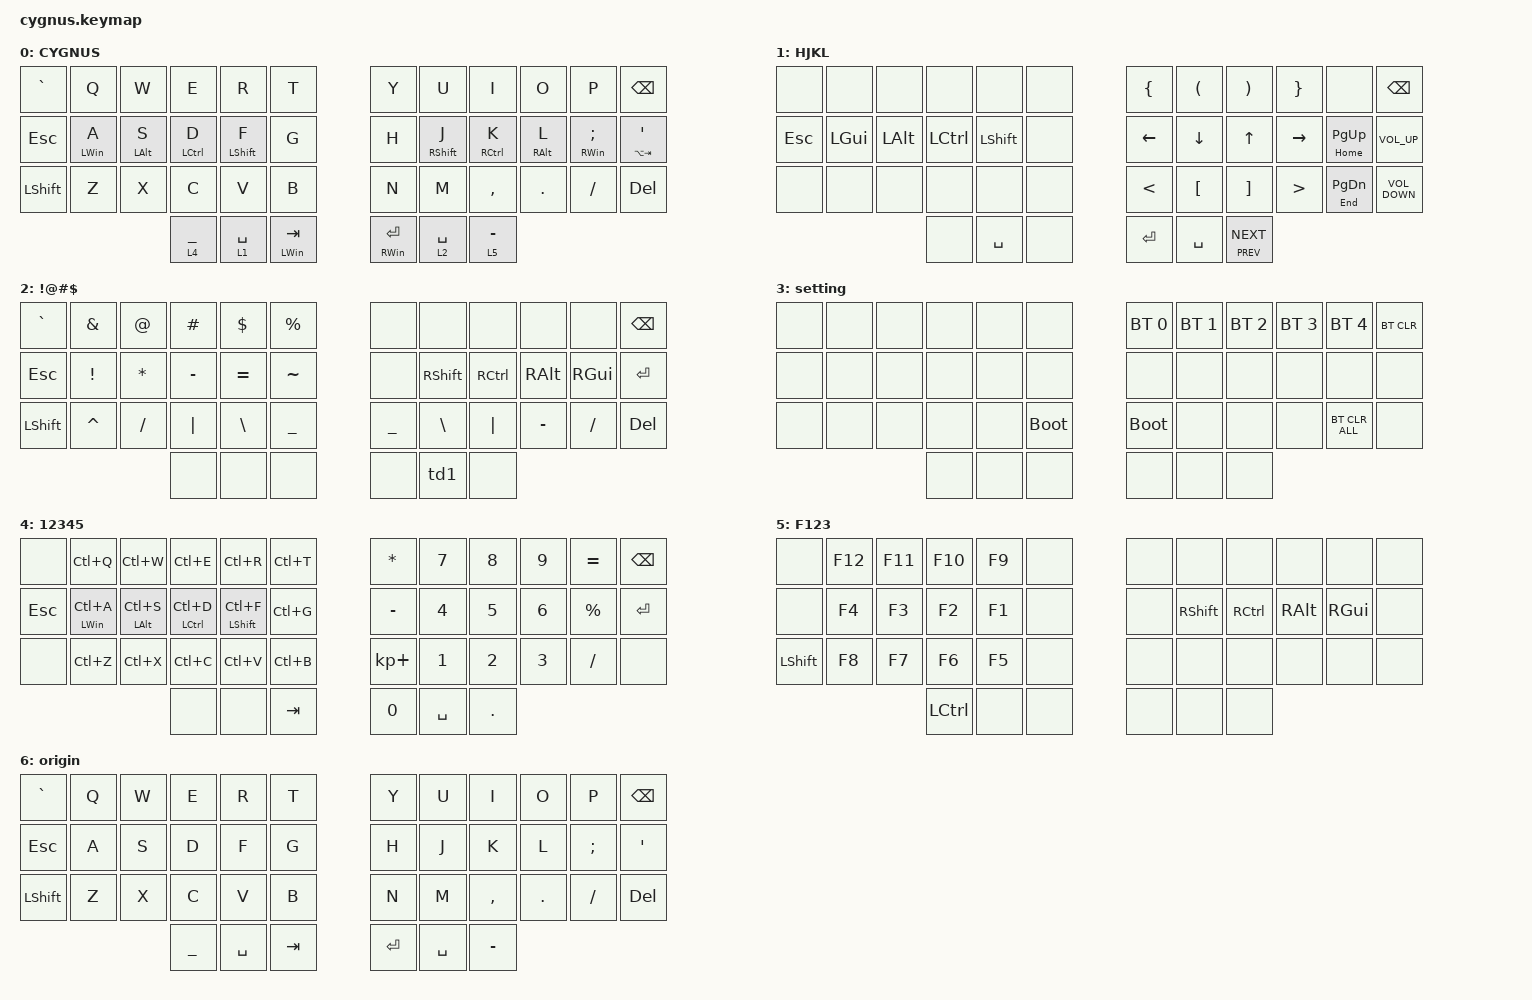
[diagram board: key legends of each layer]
/*
 * Copyright (c) 2020 The ZMK Contributors
 *
 * SPDX-License-Identifier: MIT
 */

#include <dt-bindings/zmk/mouse.h>
#include <behaviors.dtsi>
#include <dt-bindings/zmk/bt.h>
#include <dt-bindings/zmk/keys.h>

&mt {
    tapping-term-ms = <200>;
    flavor = "tap-preferred";
};

&sk {
    release-after-ms = <2000>;
    quick-release;
};

&lt { tapping-term-ms = <150>; };

/ {
    combos {
        compatible = "zmk,combos";

        combo_setting {
            bindings = <&tog 3>;
            key-positions = <24 25 34 35>;
        };

        combo_ctrl_space {
            bindings = <&kp LC(F9)>;
            key-positions = <37 40>;
            layers = <0>;
        };

        combo_f8 {
            bindings = <&kp F8>;
            key-positions = <38 39>;
            layers = <0>;
        };

        combo_colon {
            bindings = <&kp COLON>;
            key-positions = <16 22>;
            layers = <0>;
        };

        combo_left_bracket_quotation {
            bindings = <&macro_bracket_and_quotation>;
            key-positions = <16 14>;
            layers = <0>;
        };

        combo_quotation_right_bracket {
            bindings = <&macro_quotation_and_bracket>;
            key-positions = <19 21>;
            layers = <0>;
        };

        combo_arraw {
            bindings = <&macro_arraw>;
            key-positions = <15 16>;
            layers = <2>;
        };

        combo_arraw_eq {
            bindings = <&macro_arraw_eq>;
            key-positions = <3 4>;
            layers = <2>;
        };

        combo_ctrl_f19 {
            bindings = <&kp LS(LA(F8))>;
            key-positions = <26 27 28>;
            layers = <0>;
        };

        combo_ctrl_f20 {
            bindings = <&kp LC(F20)>;
            key-positions = <2 3 4>;
            layers = <0>;
        };

        combo_s_e {
            bindings = <&macro_se>;
            key-positions = <14 3>;
            layers = <0>;
        };

        combo_l_i {
            bindings = <&macro_li>;
            key-positions = <21 8>;
            layers = <0>;
        };

        combo_fj {
            bindings = <&kp LS(SPACE)>;
            key-positions = <16 19>;
            layers = <0>;
        };

        combo_ctrl_f9 {
            bindings = <&kp LC(F9)>;
            key-positions = <36 41>;
        };

        combo_d_space {
            bindings = <&macro_d_space>;
            key-positions = <15 37>;
            layers = <0>;
        };

        combo_enter {
            bindings = <&kp ENTER>;
            key-positions = <16 14 15>;
            layers = <0>;
        };

        combo_eq {
            bindings = <&kp EQUAL>;
            key-positions = <40 16>;
            layers = <0>;
        };

        combo_dollar {
            bindings = <&kp DOLLAR>;
            key-positions = <40 4>;
            layers = <0>;
        };

        combo_to_origin {
            bindings = <&tog 6>;
            key-positions = <36 37 40 41>;
            layers = <0>;
        };

        combo_to_qwerty {
            bindings = <&tog 0>;
            key-positions = <36 37 40 41>;
            layers = <6>;
        };

        combo_ctrl_enter {
            bindings = <&kp LC(ENTER)>;
            key-positions = <16 15 14>;
            layers = <4>;
        };
    };

    behaviors {
        hm: homerow_mods {
            compatible = "zmk,behavior-hold-tap";
            label = "HOMEROW_MODS";
            #binding-cells = <2>;
            tapping-term-ms = <200>;
            flavor = "tap-preferred";
            bindings = <&kp>, <&kp>;

            quick-tap-ms = <250>;
        };

        ltq: ltq {
            compatible = "zmk,behavior-hold-tap";
            label = "LTQ";
            #binding-cells = <2>;
            tapping-term-ms = <200>;
            flavor = "hold-preferred";
            bindings = <&mo>, <&kp>;

            quick-tap-ms = <180>;
        };

        as: as {
            compatible = "zmk,behavior-hold-tap";
            label = "AUTO_SHIFT";
            bindings = <&kp>, <&kp>;

            #binding-cells = <2>;
            tapping-term-ms = <135>;
            quick-tap-ms = <0>;
            flavor = "tap-preferred";
        };

        td0: td0 {
            compatible = "zmk,behavior-tap-dance";
            label = "TD0";
            #binding-cells = <0>;
            bindings = <&kp LEFT_SHIFT>, <&kp CAPSLOCK>;
        };

        mth: mth {
            compatible = "zmk,behavior-hold-tap";
            label = "MTH";
            bindings = <&kp>, <&kp>;

            #binding-cells = <2>;
            tapping-term-ms = <200>;
            flavor = "hold-preferred";
        };

        td1: td1 {
            compatible = "zmk,behavior-tap-dance";
            label = "TD1";
            #binding-cells = <0>;
            bindings = <&lt 0 ENTER>, <&to 0>;
        };
    };

    macros {
        macro_bracket_and_quotation: macro_bracket_and_quotation {
            compatible = "zmk,behavior-macro";
            #binding-cells = <0>;
            bindings = <&kp LEFT_BRACKET &kp SQT>;
            label = "MACRO_BRACKET_AND_QUOTATION";
        };

        macro_quotation_and_bracket: macro_quotation_and_bracket {
            compatible = "zmk,behavior-macro";
            #binding-cells = <0>;
            bindings = <&kp SQT &kp RIGHT_BRACKET>;
            label = "MACRO_QUOTATION_AND_BRACKET";
        };

        macro_arraw: macro_arraw {
            compatible = "zmk,behavior-macro";
            #binding-cells = <0>;
            bindings = <&kp MINUS &kp GREATER_THAN>;
            label = "MACRO_ARRAW";
        };

        macro_arraw_eq: macro_arraw_eq {
            compatible = "zmk,behavior-macro";
            #binding-cells = <0>;
            bindings = <&kp EQUAL &kp GREATER_THAN>;
            label = "MACRO_ARRAW_EQ";
        };

        macro_se: macro_se {
            compatible = "zmk,behavior-macro";
            #binding-cells = <0>;
            bindings = <&kp S &kp E>;
            label = "MACRO_SE";
        };

        macro_li: macro_li {
            compatible = "zmk,behavior-macro";
            #binding-cells = <0>;
            bindings = <&kp L &kp I>;
            label = "MACRO_LI";
        };

        macro_d_space: macro_d_space {
            compatible = "zmk,behavior-macro";
            #binding-cells = <0>;
            bindings = <&kp D &kp SPACE>;
            label = "MACRO_D_SPACE";
        };
    };

    keymap {
        compatible = "zmk,keymap";

        base {
            // -----------------------------------------------------------------------------------------
            // |  TAB |  Q  |  W  |  E  |  R  |  T  |   |  Y  |  U   |  I  |  O  |  P  | BKSP |
            // | CTRL |  A  |  S  |  D  |  F  |  G  |   |  H  |  J   |  K  |  L  |  ;  |  '   |
            // | SHFT |  Z  |  X  |  C  |  V  |  B  |   |  N  |  M   |  ,  |  .  |  /  | ESC  |
            //                    | GUI | LWR | SPC |   | ENT | RSE  | ALT |

            bindings = <
&kp GRAVE  &kp Q           &kp W           &kp E             &kp R             &kp T         &kp Y                &kp U              &kp I        &kp O            &kp P                    &kp BSPC
&kp ESC    &hm LEFT_WIN A  &hm LEFT_ALT S  &hm LCTRL D       &hm LEFT_SHIFT F  &kp G         &kp H                &hm RIGHT_SHIFT J  &hm RCTRL K  &hm RIGHT_ALT L  &hm RIGHT_WIN SEMICOLON  &mt LA(TAB) SQT
&kp LSHFT  &kp Z           &kp X           &kp C             &kp V             &kp B         &kp N                &kp M              &kp COMMA    &kp DOT          &kp FSLH                 &kp DEL
                                           &lt 4 UNDERSCORE  &lt 1 SPACE       &mt LWIN TAB  &mt RIGHT_WIN ENTER  &lt 2 SPACE        &lt 5 MINUS
            >;

            label = "CYGNUS";
        };

        guid {
            bindings = <
&none    &none     &none     &none      &none      &none  &kp LEFT_BRACE  &kp LEFT_PARENTHESIS  &kp RIGHT_PARENTHESIS  &kp RIGHT_BRACE   &none           &kp BSPC
&kp ESC  &kp LGUI  &kp LALT  &kp LCTRL  &kp LSHFT  &none  &kp LEFT        &kp DOWN              &kp UP                 &kp RIGHT         &mt HOME PG_UP  &kp C_VOLUME_UP
&none    &none     &none     &none      &none      &none  &kp LESS_THAN   &kp LBKT              &kp RBKT               &kp GREATER_THAN  &mt END PG_DN   &kp C_VOLUME_DOWN
                             &none      &kp SPACE  &none  &kp ENTER       &kp SPACE             &mt C_PREV C_NEXT
            >;

            label = "HJKL";
        };

        symbols {
            bindings = <
&kp GRAVE  &kp AMPERSAND    &kp AT_SIGN   &kp POUND  &kp DOLLAR  &kp PERCENT     &none           &none          &none      &none      &none      &kp BSPC
&kp ESC    &kp EXCLAMATION  &kp ASTERISK  &kp MINUS  &kp EQUAL   &kp TILDE       &none           &kp RSHFT      &kp RCTRL  &kp RALT   &kp RGUI   &kp ENTER
&kp LSHFT  &kp CARET        &kp SLASH     &kp PIPE   &kp BSLH    &kp UNDERSCORE  &kp UNDERSCORE  &kp BACKSLASH  &kp PIPE   &kp MINUS  &kp SLASH  &kp DEL
                                          &none      &none       &none           &none           &td1           &none
            >;

            label = "!@#$";
        };

        setting {
            bindings = <
&none  &none  &none  &none  &none  &none        &bt BT_SEL 0  &bt BT_SEL 1  &bt BT_SEL 2  &bt BT_SEL 3  &bt BT_SEL 4    &bt BT_CLR
&none  &none  &none  &none  &none  &none        &none         &none         &none         &none         &none           &none
&none  &none  &none  &none  &none  &bootloader  &bootloader   &none         &none         &none         &bt BT_CLR_ALL  &none
                     &none  &none  &none        &none         &none         &none
            >;

            label = "setting";
        };

        number {
            bindings = <
&none    &kp LC(Q)           &kp LC(W)           &kp LC(E)        &kp LC(R)             &kp LC(T)  &kp ASTRK    &kp N7     &kp N8   &kp N9  &kp EQUAL    &kp BSPC
&kp ESC  &hm LEFT_WIN LC(A)  &hm LEFT_ALT LC(S)  &hm LCTRL LC(D)  &hm LEFT_SHIFT LC(F)  &kp LC(G)  &kp MINUS    &kp N4     &kp N5   &kp N6  &kp PERCENT  &kp ENTER
&none    &kp LC(Z)           &kp LC(X)           &kp LC(C)        &kp LC(V)             &kp LC(B)  &kp KP_PLUS  &kp N1     &kp N2   &kp N3  &kp FSLH     &none
                                                 &none            &none                 &kp TAB    &kp N0       &kp SPACE  &kp DOT
            >;

            label = "12345";
        };

        fn {
            bindings = <
&none      &kp F12  &kp F11  &kp F10    &kp F9  &none  &none  &none      &none      &none     &none     &none
&none      &kp F4   &kp F3   &kp F2     &kp F1  &none  &none  &kp RSHFT  &kp RCTRL  &kp RALT  &kp RGUI  &none
&kp LSHFT  &kp F8   &kp F7   &kp F6     &kp F5  &none  &none  &none      &none      &none     &none     &none
                             &kp LCTRL  &none   &none  &none  &none      &none
            >;

            label = "F123";
        };

        origin {
            bindings = <
&kp GRAVE  &kp Q  &kp W  &kp E           &kp R      &kp T    &kp Y      &kp U      &kp I      &kp O    &kp P     &kp BSPC
&kp ESC    &kp A  &kp S  &kp D           &kp F      &kp G    &kp H      &kp J      &kp K      &kp L    &kp SEMI  &kp APOS
&kp LSHFT  &kp Z  &kp X  &kp C           &kp V      &kp B    &kp N      &kp M      &kp COMMA  &kp DOT  &kp FSLH  &kp DEL
                         &kp UNDERSCORE  &kp SPACE  &kp TAB  &kp ENTER  &kp SPACE  &kp MINUS
            >;

            label = "origin";
        };
    };
};
